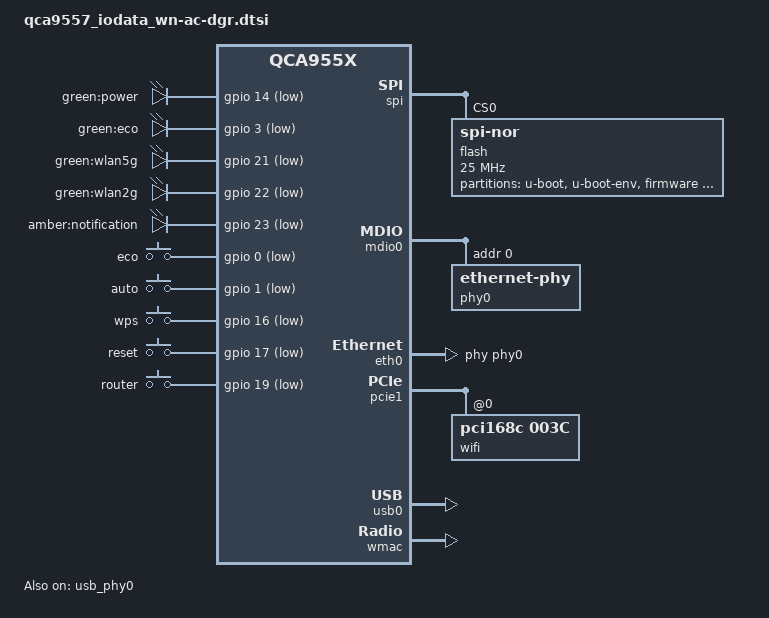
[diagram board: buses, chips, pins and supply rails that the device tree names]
// SPDX-License-Identifier: GPL-2.0-or-later OR MIT

#include "qca955x.dtsi"

#include <dt-bindings/gpio/gpio.h>
#include <dt-bindings/input/input.h>

/ {
	aliases {
		led-boot = &led_power;
		led-failsafe = &led_power;
		led-running = &led_power;
		led-upgrade = &led_power;
	};

	leds: leds {
		compatible = "gpio-leds";

		led_power: power {
			label = "green:power";
			gpios = <&gpio 14 GPIO_ACTIVE_LOW>;
			default-state = "on";
		};

		eco {
			label = "green:eco";
			gpios = <&gpio 3 GPIO_ACTIVE_LOW>;
		};

		wlan5g {
			label = "green:wlan5g";
			gpios = <&gpio 21 GPIO_ACTIVE_LOW>;
			linux,default-trigger = "phy0tpt";
		};

		wlan2g {
			label = "green:wlan2g";
			gpios = <&gpio 22 GPIO_ACTIVE_LOW>;
			linux,default-trigger = "phy1tpt";
		};

		notification {
			label = "amber:notification";
			gpios = <&gpio 23 GPIO_ACTIVE_LOW>;
		};
	};

	keys: keys {
		compatible = "gpio-keys";

		eco {
			label = "eco";
			gpios = <&gpio 0 GPIO_ACTIVE_LOW>;
			linux,code = <BTN_1>;
			debounce-interval = <60>;
		};

		auto {
			label = "auto";
			gpios = <&gpio 1 GPIO_ACTIVE_LOW>;
			linux,code = <BTN_0>;
			linux,input-type = <EV_SW>;
			debounce-interval = <60>;
		};

		wps {
			label = "wps";
			gpios = <&gpio 16 GPIO_ACTIVE_LOW>;
			linux,code = <KEY_WPS_BUTTON>;
			debounce-interval = <60>;
		};

		reset {
			label = "reset";
			gpios = <&gpio 17 GPIO_ACTIVE_LOW>;
			linux,code = <KEY_RESTART>;
			debounce-interval = <60>;
		};

		router {
			label = "router";
			gpios = <&gpio 19 GPIO_ACTIVE_LOW>;
			linux,code = <BTN_0>;
			linux,input-type = <EV_SW>;
			debounce-interval = <60>;
		};
	};
};

&spi {
	status = "okay";

	flash@0 {
		compatible = "jedec,spi-nor";
		reg = <0>;
		spi-max-frequency = <25000000>;

		partitions {
			compatible = "fixed-partitions";
			#address-cells = <1>;
			#size-cells = <1>;

			partition@0 {
				label = "u-boot";
				reg = <0x000000 0x030000>;
				read-only;
			};

			partition@30000 {
				label = "u-boot-env";
				reg = <0x030000 0x010000>;
				read-only;
			};

			partition@40000 {
				compatible = "denx,uimage";
				label = "firmware";
				reg = <0x040000 0xe50000>;
			};

			partition@e90000 {
				label = "manufacture";
				reg = <0xe90000 0x100000>;
				read-only;
			};

			partition@f90000 {
				label = "backup";
				reg = <0xf90000 0x010000>;
				read-only;
			};

			partition@fa0000 {
				label = "storage";
				reg = <0xfa0000 0x050000>;
				read-only;
			};

			art: partition@ff0000 {
				label = "art";
				reg = <0xff0000 0x010000>;
				read-only;
			};
		};
	};
};

&mdio0 {
	status = "okay";

	phy0: ethernet-phy@0 {
		reg = <0>;

		qca,ar8327-initvals = <
			0x04 0x87600000 /* PORT0 PAD MODE CTRL */
			0x7c 0x0000007e /* PORT0_STATUS */
		>;
	};
};

&eth0 {
	status = "okay";

	pll-data = <0xa6000000 0x00000101 0x00001616>;
	phy-handle = <&phy0>;
};

&pcie1 {
	status = "okay";

	wifi@0,0 {
		compatible = "pci168c,003c";
		reg = <0x0000 0 0 0 0>;
	};
};

&usb_phy0 {
	status = "okay";
};

&usb0 {
	status = "okay";
};

&wmac {
	status = "okay";

	qca,no-eeprom;
};
